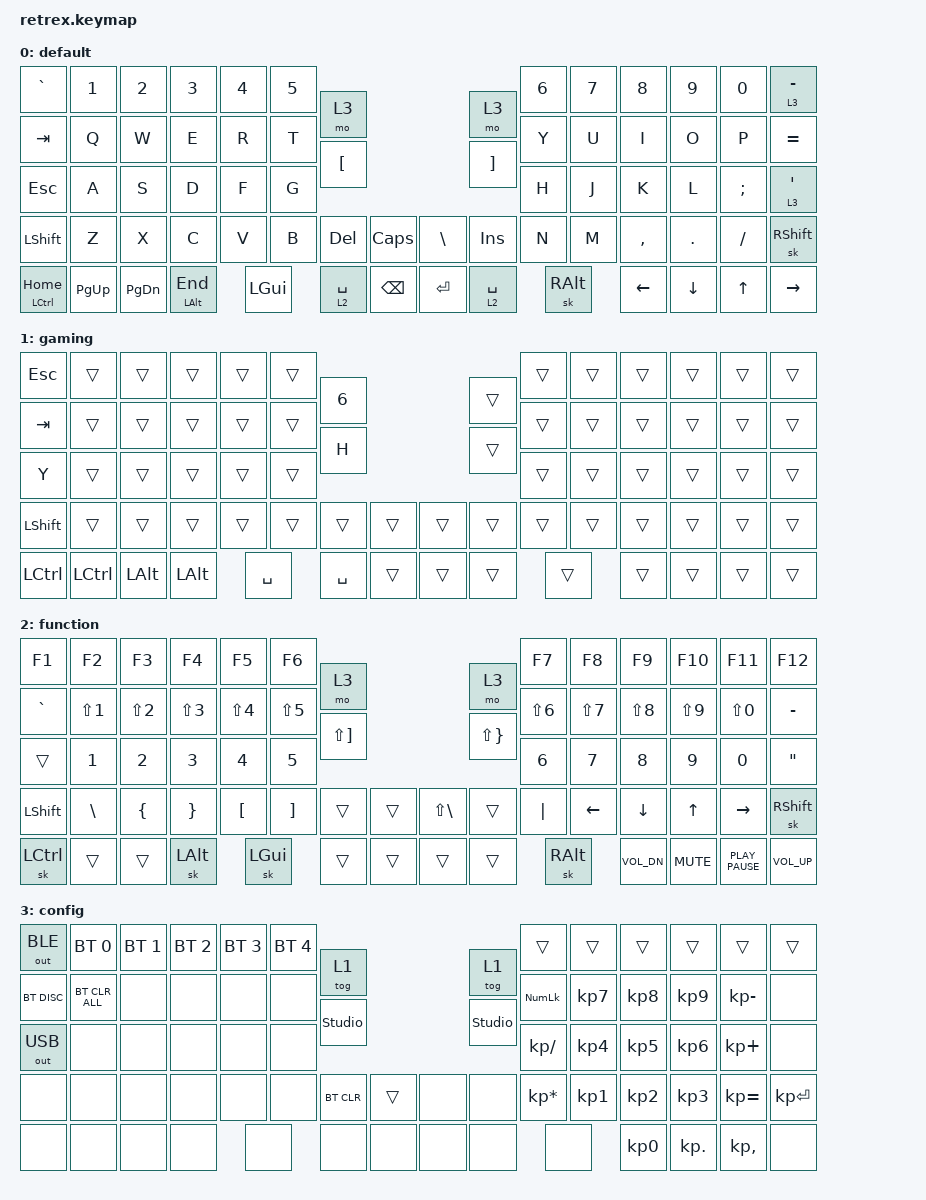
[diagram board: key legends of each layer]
/*
 * Copyright (c) 2021 The ZMK Contributors
 *
 * SPDX-License-Identifier: MIT
 */

#include <behaviors.dtsi>
#include <dt-bindings/zmk/bt.h>
#include <dt-bindings/zmk/keys.h>
#include <dt-bindings/zmk/outputs.h>

/ {
    combos {
        compatible = "zmk,combos";

        double_shift_caps {
            bindings = <&kp CAPSLOCK>;
            key-positions = <40 55>;
        };
    };

    keymap {
        compatible = "zmk,keymap";

        default {
            bindings = <
&kp GRAVE       &kp N1     &kp N2         &kp N3        &kp N4    &kp N5                                                                         &kp N6  &kp N7         &kp N8     &kp N9    &kp N0    &lt 3 MINUS
&kp TAB         &kp Q      &kp W          &kp E         &kp R     &kp T   &mo 3                                             &mo 3                &kp Y   &kp U          &kp I      &kp O     &kp P     &kp EQUAL
&kp ESC         &kp A      &kp S          &kp D         &kp F     &kp G   &kp LEFT_BRACKET                                  &kp RIGHT_BRACKET    &kp H   &kp J          &kp K      &kp L     &kp SEMI  &lt 3 SINGLE_QUOTE
&kp LSHFT       &kp Z      &kp X          &kp C         &kp V     &kp B   &kp DEL             &kp CAPS       &kp BACKSLASH  &kp INSERT           &kp N   &kp M          &kp COMMA  &kp DOT   &kp FSLH  &sk RSHFT
&mt LCTRL HOME  &kp PG_UP  &kp PAGE_DOWN  &mt LALT END  &kp LGUI          &lt 2 SPACE         &kp BACKSPACE  &kp ENTER      &lt 2 SPACE                  &sk RIGHT_ALT  &kp LEFT   &kp DOWN  &kp UP    &kp RIGHT
            >;
        };

        gaming {
            bindings = <
&kp ESC           &trans            &trans      &trans   &trans     &trans                                        &trans  &trans  &trans  &trans  &trans  &trans
&kp TAB           &trans            &trans      &trans   &trans     &trans  &kp NUMBER_6                  &trans  &trans  &trans  &trans  &trans  &trans  &trans
&kp Y             &trans            &trans      &trans   &trans     &trans  &kp H                         &trans  &trans  &trans  &trans  &trans  &trans  &trans
&kp LSHIFT        &trans            &trans      &trans   &trans     &trans  &trans        &trans  &trans  &trans  &trans  &trans  &trans  &trans  &trans  &trans
&kp LEFT_CONTROL  &kp LEFT_CONTROL  &kp LALT    &kp LALT &kp SPACE          &kp SPACE     &trans  &trans  &trans          &trans  &trans  &trans  &trans  &trans
            >;
        };

        function {
            bindings = <
&kp F1     &kp F2         &kp F3          &kp F4           &kp F5            &kp F6                                                                    &kp F7      &kp F8         &kp F9        &kp F10     &kp F11           &kp F12
&kp GRAVE  &kp LS(N1)     &kp LS(N2)      &kp LS(N3)       &kp LS(N4)        &kp LS(N5)         &mo 3                                    &mo 3         &kp LS(N6)  &kp LS(N7)     &kp LS(N8)    &kp LS(N9)  &kp LS(N0)        &kp MINUS
&trans     &kp N1         &kp N2          &kp N3           &kp N4            &kp N5             &kp LS(RBKT)                             &kp LS(RBRC)  &kp N6      &kp N7         &kp N8        &kp N9      &kp N0            &kp DQT
&kp LSHFT  &kp BACKSLASH  &kp LEFT_BRACE  &kp RIGHT_BRACE  &kp LEFT_BRACKET  &kp RIGHT_BRACKET  &trans        &trans  &kp LS(BACKSLASH)  &trans        &kp PIPE    &kp LEFT       &kp DOWN      &kp UP      &kp RIGHT         &sk RIGHT_SHIFT
&sk LCTRL  &trans         &trans          &sk LALT         &sk LEFT_GUI                         &trans        &trans  &trans             &trans                    &sk RIGHT_ALT  &kp K_VOL_DN  &kp K_MUTE  &kp K_PLAY_PAUSE  &kp K_VOL_UP
            >;
        };

        config {
            bindings = <
&out OUT_BLE   &bt BT_SEL 0   &bt BT_SEL 1  &bt BT_SEL 2  &bt BT_SEL 3  &bt BT_SEL 4                                            &trans           &trans           &trans           &trans           &trans        &trans
&bt BT_DISC    &bt BT_CLR_ALL &none         &none         &none         &none         &tog 1                     &tog 1         &kp KP_NUMLOCK   &kp KP_NUMBER_7  &kp KP_N8        &kp KP_N9        &kp KP_MINUS  &none
&out OUT_USB   &none          &none         &none         &none         &none         &studio_unlock             &studio_unlock &kp KP_SLASH     &kp KP_NUMBER_4  &kp KP_NUMBER_5  &kp KP_NUMBER_6  &kp KP_PLUS   &none
&none          &none          &none         &none         &none         &none         &bt BT_CLR  &trans  &none  &none           &kp KP_ASTERISK &kp KP_NUMBER_1  &kp KP_NUMBER_2  &kp KP_NUMBER_3  &kp KP_EQUAL  &kp KP_ENTER
&none          &none          &none         &none         &none                       &none       &none   &none  &none                           &none            &kp KP_NUMBER_0  &kp KP_DOT       &kp KP_COMMA  &none
            >;
        };
    };
};
